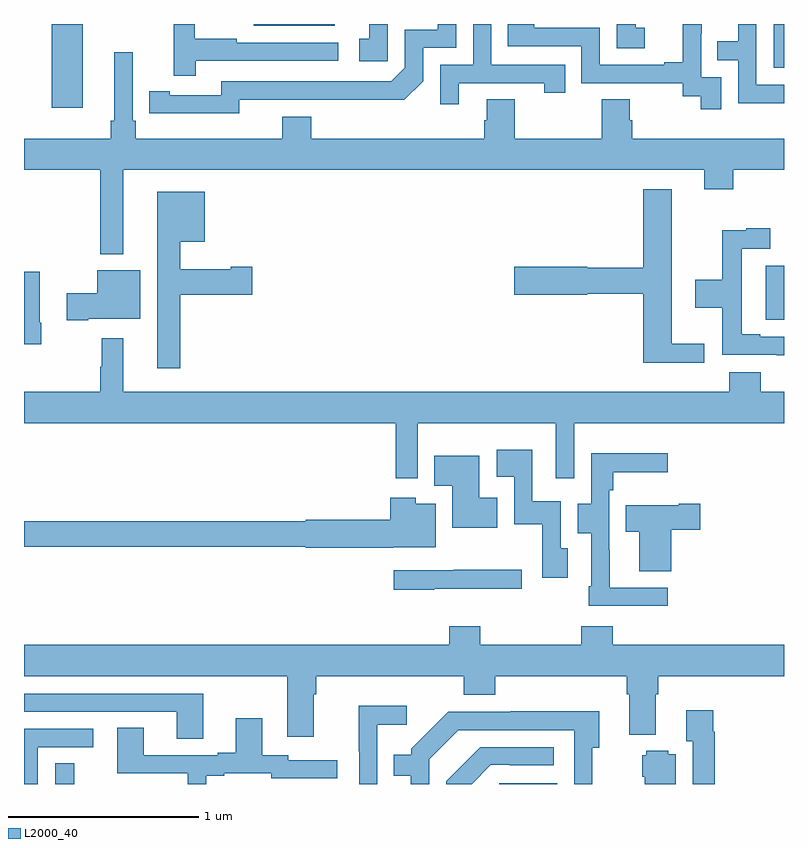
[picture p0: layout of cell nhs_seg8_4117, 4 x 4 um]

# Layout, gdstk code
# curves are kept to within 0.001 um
import gdstk
lib = gdstk.Library(unit=1e-6, precision=1e-09)
def R(c, l, rs):  # rectangles x0, y0, x1, y1
    for r in rs: c.add(gdstk.rectangle(r[:2], r[2:], *l))
def P(c, l, *ps):  # polygons
    for p in ps: c.add(gdstk.Polygon(p, *l))
L2000_40 = (2000, 40)

nhs_seg8_4117 = lib.new_cell('nhs_seg8_4117')
R(nhs_seg8_4117, L2000_40, [(363.165,1147.9,363.264,1148.009), (365.502,1147.9,365.806,1147.905), (366.905,1150.343,367,1150.627), (363.146,1151.46,363.31,1151.9), (366.945,1151.67,367,1151.9), (364.209,1151.891,364.636,1151.9)])
P(nhs_seg8_4117, L2000_40, [(363.905,1151.706),(364.654,1151.706),(364.654,1151.802),(364.121,1151.802),(364.121,1151.822),(363.898,1151.822),(363.898,1151.9),(363.777,1151.9),(363.777,1151.899),(363.788,1151.899),(363.788,1151.628),(363.905,1151.628)],
  [(366.268,1151.881),(366.219,1151.881),(366.219,1151.9),(366.12,1151.9),(366.12,1151.772),(366.268,1151.772)],
  [(365.287,1151.589),(365.738,1151.589),(365.738,1151.538),(365.849,1151.538),(365.849,1151.685),(365.46,1151.685),(365.46,1151.9),(365.364,1151.9),(365.364,1151.685),(365.19,1151.685),(365.19,1151.478),(365.287,1151.478)],
  [(366.669,1151.619),(366.564,1151.619),(366.564,1151.849),(366.566,1151.849),(366.566,1151.9),(366.467,1151.9),(366.467,1151.698),(366.371,1151.698),(366.371,1151.685),(366.03,1151.685),(366.03,1151.88),(365.685,1151.88),(365.685,1151.9),(365.545,1151.9),(365.545,1151.784),(365.934,1151.784),(365.934,1151.589),(366.468,1151.589),(366.468,1151.521),(366.561,1151.521),(366.561,1151.451),(366.669,1151.451)],
  [(367,1151.58),(366.855,1151.58),(366.855,1151.9),(366.759,1151.9),(366.759,1151.81),(366.649,1151.81),(366.649,1151.709),(366.759,1151.709),(366.759,1151.484),(367,1151.484)],
  [(364.914,1151.9),(364.817,1151.9),(364.817,1151.823),(364.764,1151.823),(364.764,1151.703),(364.914,1151.703)],
  [(364.134,1151.502),(365.002,1151.501),(365.1,1151.598),(365.1,1151.775),(365.274,1151.775),(365.274,1151.9),(365.177,1151.9),(365.177,1151.871),(365.004,1151.871),(365.004,1151.67),(364.932,1151.598),(364.038,1151.598),(364.038,1151.526),(363.766,1151.526),(363.766,1151.546),(363.658,1151.546),(363.658,1151.43),(364.134,1151.429)],
  [(363.523,1151.132),(366.581,1151.132),(366.581,1151.03),(366.734,1151.03),(366.734,1151.132),(367,1151.132),(367,1151.296),(366.2,1151.296),(366.2,1151.394),(366.187,1151.394),(366.187,1151.504),(366.04,1151.504),(366.04,1151.296),(365.583,1151.296),(365.583,1151.504),(365.435,1151.504),(365.435,1151.394),(365.423,1151.394),(365.423,1151.296),(364.511,1151.296),(364.511,1151.413),(364.358,1151.413),(364.358,1151.296),(363.587,1151.296),(363.587,1151.392),(363.573,1151.392),(363.573,1151.752),(363.476,1151.752),(363.476,1151.392),(363.457,1151.392),(363.457,1151.296),(363,1151.296),(363,1151.132),(363.402,1151.132),(363.402,1150.688),(363.523,1150.688)],
  [(366.58,1150.217),(366.409,1150.217),(366.409,1151.029),(366.26,1151.029),(366.26,1150.616),(365.964,1150.616),(365.964,1150.622),(365.58,1150.622),(365.58,1150.475),(365.964,1150.475),(365.964,1150.48),(366.26,1150.48),(366.26,1150.118),(366.58,1150.118)],
  [(363.823,1150.475),(364.201,1150.475),(364.201,1150.622),(364.088,1150.622),(364.088,1150.609),(363.823,1150.609),(363.823,1150.754),(363.952,1150.754),(363.952,1151.017),(363.701,1151.017),(363.701,1150.089),(363.823,1150.089)],
  [(367,1150.254),(366.874,1150.254),(366.874,1150.267),(366.777,1150.267),(366.777,1150.716),(366.928,1150.716),(366.928,1150.825),(366.8,1150.825),(366.8,1150.814),(366.676,1150.814),(366.676,1150.554),(366.534,1150.554),(366.534,1150.406),(366.676,1150.406),(366.676,1150.158),(366.961,1150.158),(366.961,1150.157),(367,1150.157)],
  [(363.337,1150.349),(363.613,1150.349),(363.613,1150.603),(363.386,1150.603),(363.386,1150.484),(363.225,1150.484),(363.225,1150.342),(363.337,1150.342)],
  [(363.09,1150.327),(363.082,1150.327),(363.082,1150.596),(363,1150.596),(363,1150.215),(363.09,1150.215)],
  [(365.073,1149.8),(365.799,1149.8),(365.799,1149.51),(365.895,1149.51),(365.895,1149.8),(367,1149.8),(367,1149.964),(366.878,1149.964),(366.878,1150.066),(366.713,1150.066),(366.713,1149.964),(363.523,1149.964),(363.523,1150.246),(363.409,1150.246),(363.409,1150.097),(363.402,1150.097),(363.402,1149.964),(363,1149.964),(363,1149.8),(364.957,1149.8),(364.957,1149.51),(365.073,1149.51)],
  [(365.863,1149.141),(365.826,1149.141),(365.826,1149.388),(365.676,1149.388),(365.676,1149.658),(365.487,1149.658),(365.487,1149.518),(365.58,1149.518),(365.58,1149.266),(365.728,1149.266),(365.728,1148.985),(365.863,1148.985)],
  [(366.388,1148.934),(366.082,1148.934),(366.082,1149.131),(366.081,1149.131),(366.081,1149.446),(366.101,1149.446),(366.101,1149.542),(366.388,1149.542),(366.388,1149.64),(365.985,1149.64),(365.985,1149.375),(365.915,1149.375),(365.915,1149.22),(365.985,1149.22),(365.985,1148.941),(365.973,1148.941),(365.973,1148.838),(366.388,1148.838)],
  [(365.491,1149.406),(365.395,1149.406),(365.395,1149.628),(365.158,1149.628),(365.158,1149.47),(365.255,1149.47),(365.255,1149.248),(365.491,1149.248)],
  [(364.944,1149.146),(365.167,1149.146),(365.167,1149.376),(365.062,1149.376),(365.062,1149.406),(364.928,1149.406),(364.928,1149.29),(364.482,1149.29),(364.482,1149.284),(363,1149.284),(363,1149.148),(364.482,1149.148),(364.482,1149.143),(364.944,1149.143)],
  [(366.407,1149.238),(366.559,1149.238),(366.559,1149.375),(366.446,1149.375),(366.446,1149.367),(366.166,1149.367),(366.166,1149.227),(366.239,1149.227),(366.239,1149.019),(366.407,1149.019)],
  [(365.159,1148.927),(365.62,1148.927),(365.62,1149.027),(365.263,1149.027),(365.263,1149.024),(364.947,1149.024),(364.947,1148.923),(365.159,1148.923)],
  [(364.525,1148.372),(364.538,1148.372),(364.538,1148.468),(365.315,1148.468),(365.315,1148.369),(365.48,1148.369),(365.48,1148.468),(366.173,1148.468),(366.173,1148.372),(366.185,1148.372),(366.185,1148.159),(366.325,1148.159),(366.325,1148.372),(366.338,1148.372),(366.338,1148.468),(367,1148.468),(367,1148.632),(366.098,1148.632),(366.098,1148.731),(365.933,1148.731),(365.933,1148.632),(365.402,1148.632),(365.402,1148.731),(365.237,1148.731),(365.237,1148.632),(363,1148.632),(363,1148.468),(364.385,1148.468),(364.385,1148.148),(364.525,1148.148)],
  [(363.943,1148.376),(363,1148.376),(363,1148.28),(363.803,1148.28),(363.803,1148.137),(363.943,1148.137)],
  [(364.86,1148.213),(365.014,1148.213),(365.014,1148.311),(364.762,1148.311),(364.762,1148.072),(364.764,1148.072),(364.764,1147.9),(364.86,1147.9)],
  [(366.635,1148.174),(366.628,1148.174),(366.628,1148.287),(366.485,1148.287),(366.485,1148.126),(366.519,1148.126),(366.519,1147.9),(366.635,1147.9)],
  [(365.133,1148.031),(365.286,1148.184),(365.895,1148.184),(365.895,1147.9),(365.991,1147.9),(365.991,1148.09),(366.028,1148.09),(366.028,1148.282),(365.563,1148.282),(365.563,1148.28),(365.232,1148.28),(365.037,1148.085),(365.037,1148.053),(364.945,1148.053),(364.945,1147.944),(365.036,1147.944),(365.036,1147.9),(365.133,1147.9)],
  [(363.958,1147.944),(364.054,1147.944),(364.054,1147.956),(364.302,1147.956),(364.302,1147.929),(364.648,1147.929),(364.648,1148.025),(364.392,1148.025),(364.392,1148.052),(364.255,1148.052),(364.255,1148.245),(364.115,1148.245),(364.115,1148.065),(364.019,1148.065),(364.019,1148.052),(363.631,1148.052),(363.631,1148.195),(363.491,1148.195),(363.491,1147.956),(363.861,1147.956),(363.861,1147.9),(363.958,1147.9)],
  [(363.072,1148.094),(363.364,1148.094),(363.364,1148.19),(363,1148.19),(363,1147.9),(363.072,1147.9)],
  [(365.457,1148.001),(365.557,1148.001),(365.557,1147.998),(365.788,1147.998),(365.788,1148.094),(365.402,1148.094),(365.223,1147.915),(365.223,1147.9),(365.356,1147.9)],
  [(366.43,1148.056),(366.39,1148.056),(366.39,1148.074),(366.276,1148.074),(366.276,1148.052),(366.254,1148.052),(366.254,1147.938),(366.266,1147.938),(366.266,1147.9),(366.43,1147.9)])

lib.write_gds('nhs_seg8_4117.gds')
